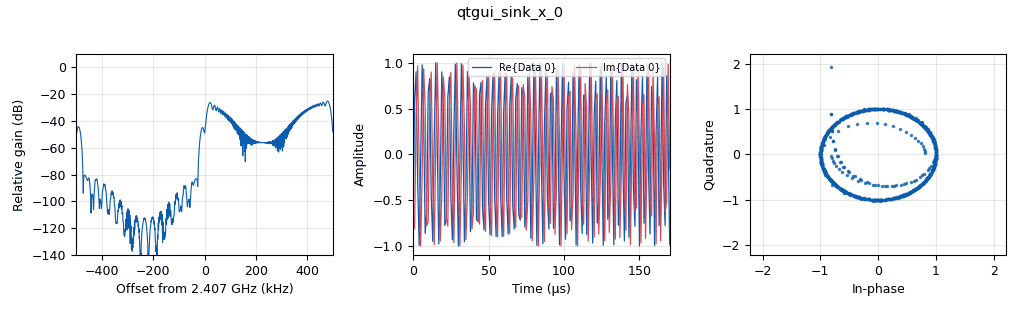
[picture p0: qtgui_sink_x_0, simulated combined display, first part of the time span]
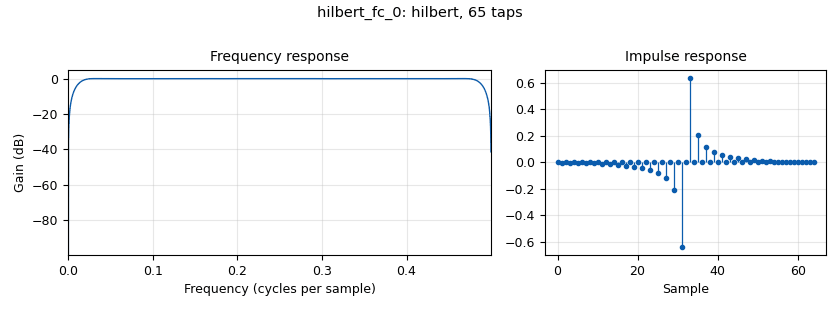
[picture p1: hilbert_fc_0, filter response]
options:
  parameters:
    category: Custom
    generate_options: qt_gui
    id: top_block
    output_language: python
  states: {}

blocks:
- name: Bandwith
  id: variable_qtgui_range
  parameters:
    orient: Qt.Horizontal
    start: 1e5
    step: '100000'
    stop: 20e6
    value: 1e5
    widget: slider
  states: {}
- name: Frequency
  id: variable_qtgui_range
  parameters:
    orient: Qt.Horizontal
    start: 2400e6
    step: 1e6
    stop: 2450e6
    value: 2407e6
    widget: slider
  states: {}
- name: band
  id: variable
  parameters:
    value: '1000000'
  states: {}
- name: sample_rate
  id: variable
  parameters:
    value: int(1000000)
  states: {}
- name: analog_sig_source_x_0
  id: analog_sig_source_x
  parameters:
    amp: '1'
    freq: 1e3
    offset: '0'
    phase: '0'
    samp_rate: sample_rate
    type: float
    waveform: analog.GR_SAW_WAVE
  states: {}
- name: blocks_vco_f_0
  id: blocks_vco_f
  parameters:
    amplitude: '1'
    samp_rate: sample_rate*2
    sensitivity: 6.28e6
  states: {}
- name: hilbert_fc_0
  id: hilbert_fc
  parameters:
    num_taps: '65'
    win: firdes.WIN_HAMMING
  states: {}
- name: qtgui_sink_x_0
  id: qtgui_sink_x
  parameters:
    bw: sample_rate
    fc: Frequency
    fftsize: '1024'
    type: complex
    wintype: firdes.WIN_BLACKMAN_hARRIS
  states: {}

connections:
- [analog_sig_source_x_0, '0', blocks_vco_f_0, '0']
- [blocks_vco_f_0, '0', hilbert_fc_0, '0']
- [hilbert_fc_0, '0', qtgui_sink_x_0, '0']

metadata:
  file_format: 1
